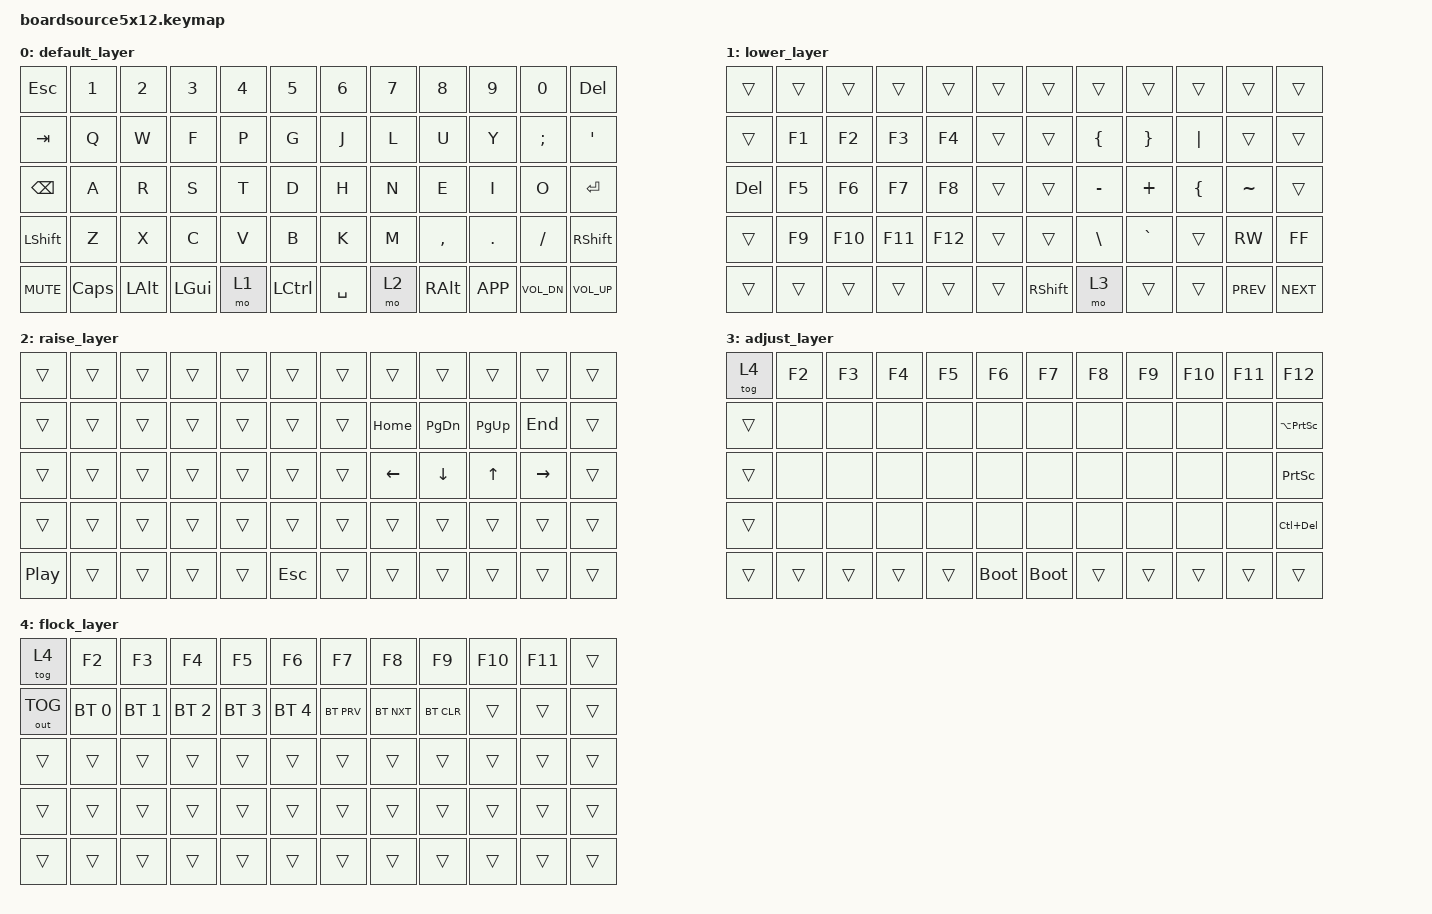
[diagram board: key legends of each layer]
/*
 * Copyright (c) 2021 The ZMK Contributors
 *
 * SPDX-License-Identifier: MIT
 */
 
#include <behaviors.dtsi>
#include <dt-bindings/zmk/keys.h>
#include <dt-bindings/zmk/bt.h>
#include <dt-bindings/zmk/outputs.h>


/ {
    keymap {
        compatible = "zmk,keymap";

        default_layer {
            // ------------------------------------------------------------------------------------------
            // |  ESC  |  1   |  2   |  3   |  4   |  5   |   6   |  7    |  8   |  9   |   0   | BSPC  |
            // |  TAB  |  Q   |  W   |  E   |  R   |  T   |   Y   |  U    |  I   |  O   |   P   |  \    |
            // | SHIFT |  A   |  S   |  D   |  F   |  G   |   H   |  J    |  K   |  L   |   ;   |  '    |
            // | CTRL  |  Z   |  X   |  C   |  V   |  B   |   N   |  M    |  ,   |  .   |   /   | ENTER |
            // |ADJUST | LCTL | LALT | LGUI | LOWR | SPACE| SPACE |  RAIS | LARW | DARW | UARW  | RARW  |


            bindings = <
                &kp ESC    &kp N1       &kp N2      &kp N3   &kp N4     &kp N5      &kp N6      &kp N7  &kp N8      &kp N9      &kp N0        &kp DEL
                &kp TAB    &kp Q        &kp W       &kp F    &kp P      &kp G       &kp J       &kp L   &kp U       &kp Y       &kp SEMI      &kp SQT
                &kp BSPC   &kp A        &kp R       &kp S    &kp T      &kp D       &kp H       &kp N   &kp E       &kp I       &kp O         &kp RET
                &kp LSHFT  &kp Z        &kp X       &kp C    &kp V      &kp B       &kp K       &kp M   &kp COMMA   &kp DOT     &kp FSLH      &kp RSHFT
                &kp C_MUTE &kp CAPS     &kp LALT    &kp LGUI &mo 1      &kp LCTRL   &kp SPACE   &mo 2   &kp RALT    &kp K_APP   &kp C_VOL_DN  &kp C_VOL_UP
            >;
        };

        lower_layer {
            // -------------------------------------------------------------------------------------------
            // |  ESC  |  F2  |  F3  |  F4  |  F5  |  F6  |   F7  |  F8   |  F9  | F10  |  F11  |  F12  |
            // |   ~   |  !   |  @   |  #   |  $   |  %   |   ^   |   &   |  *   |  (   |   )   |  DEL  |
            // |       |  F1  |  F2  |  F3  |  F4  |  F5  |   F6  |   _   |  +   |  {   |   }   |   |   |
            // |       |  F7  |  F8  |  F9  |  F10 |  F11 |   F12 | LS(#) |LS(|) |      |       |       |
            // |       |      |      |      |      |      |       |       | NEXT | Vol- | Vol+ | PLAY   |
            bindings = <
                &trans   &trans   &trans   &trans   &trans    &trans   &trans    &trans      &trans      &trans       &trans      &trans          
                &trans   &kp F1   &kp F2   &kp F3   &kp F4    &trans   &trans    &kp LBRC    &kp RBRC    &kp PIPE     &trans      &trans
                &kp DEL  &kp F5   &kp F6   &kp F7   &kp F8    &trans   &trans    &kp MINUS   &kp PLUS    &kp LBRC     &kp TILDE   &trans
                &trans   &kp F9   &kp F10  &kp F11  &kp F12   &trans   &trans    &kp BSLH    &kp GRAVE   &trans       &kp C_RW    &kp C_FF
                &trans   &trans   &trans   &trans   &trans    &trans   &kp RSHFT &mo 3       &trans      &trans       &kp C_PREV  &kp C_NEXT
            >;
        };

        raise_layer {
            // ------------------------------------------------------------------------------------------
            // |  ESC  |  F2  |  F3  |  F4  |  F5  |  F6  |  F7   |  F8   |  F9  | F10  |  F11  |  F12  |
            // |   ~   |  1   |  2   |  3   |  4   |  5   |  6    |   7   |  8   |  9   |   0   |  DEL  |
            // |  DEL  |  F1  |  F2  |  F3  |  F4  |  F5  |  F6   |   -   |  =   |  [   |   ]   |   \   |
            // |       |  F7  |  F8  |  F9  |  F10 |  F11 |  F12  |   #   |  |   |      |       |       |
            // |       |      |      |      |      |      |       |       |       |      |      |       |
            bindings = <
                &trans      &trans   &trans   &trans   &trans    &trans   &trans    &trans      &trans      &trans       &trans      &trans 
                &trans      &trans   &trans   &trans   &trans    &trans   &trans    &kp HOME    &kp PG_DN   &kp PG_UP    &kp END     &trans 
                &trans      &trans   &trans   &trans   &trans    &trans   &trans    &kp LEFT    &kp DOWN    &kp UP       &kp RIGHT   &trans 
                &trans      &trans   &trans   &trans   &trans    &trans   &trans    &trans      &trans      &trans       &trans      &trans 
                &kp C_PP    &trans   &trans   &trans   &trans    &kp ESC  &trans    &trans      &trans      &trans       &trans      &trans 
            >;
        };

        adjust_layer {
            // ------------------------------------------------------------------------------------------
            // |tog(4)|  F2  |  F3  |  F4  |  F5  |  F6  |  F7  |  F8  |  F9  |  F10 |  F11 |    F12    |
            // |      |  NA  |  NA  |  NA  |  NA  |  NA  |  NA  |  NA  |  NA  |  NA  |  NA  |LALT(PRTSN)|
            // |      |  NA  |  NA  |  NA  |  NA  |  NA  |  NA  |  NA  |  NA  |  NA  |  NA  |   PRTSN   |
            // |      |  NA  |  NA  |  NA  |  NA  |  NA  |  NA  |  NA  |  NA  |  NA  |  NA  |LCTRL(DEL) |
            // |      |      |      |      |      |BOOTLD|BOOTLD|      |      |      |      |           |
            bindings = <
                &tog 4 &kp F2 &kp F3 &kp F4 &kp F5 &kp F6 &kp F7 &kp F8 &kp F9 &kp F10 &kp F11 &kp F12
                &trans &none  &none  &none  &none  &none  &none  &none  &none  &none   &none   &kp LA(PSCRN)
                &trans &none  &none  &none  &none  &none  &none  &none  &none  &none   &none   &kp PSCRN
                &trans &none  &none  &none  &none  &none  &none  &none  &none  &none   &none   &kp LC(DEL)
                &trans &trans &trans &trans &trans &bootloader   &bootloader &trans &trans &trans &trans  &trans
            >;
        };

        flock_layer {
            // ----------------------------------------------------------------------------------------------
            // |tog(4) |  F2    |   F3   |   F4   |   F5   |   F6   |  F7  |  F8  |  F9  | F10 | F11 |      |
            // |out tog|BT_SEL 0|BT_SEL 1|BT_SEL 2|BT_SEL 3|BT_SEL 4|BT_PRV|BT_NXT|BT_CLR|     |     |      |
            // |       |        |        |        |        |        |      |      |      |     |     |      |
            // |       |        |        |        |        |        |      |      |      |     |     |      |
            // |       |        |        |        |        |        |      |      |      |     |     |      |
            bindings = <
                &tog 4       &kp F2       &kp F3       &kp F4       &kp F5       &kp F6       &kp F7     &kp F8     &kp F9     &kp F10 &kp F11 &trans
                &out OUT_TOG &bt BT_SEL 0 &bt BT_SEL 1 &bt BT_SEL 2 &bt BT_SEL 3 &bt BT_SEL 4 &bt BT_PRV &bt BT_NXT &bt BT_CLR &trans  &trans  &trans
                &trans       &trans       &trans       &trans       &trans       &trans       &trans     &trans     &trans     &trans  &trans  &trans
                &trans       &trans       &trans       &trans       &trans       &trans       &trans     &trans     &trans     &trans  &trans  &trans
                &trans       &trans       &trans       &trans       &trans       &trans       &trans     &trans     &trans     &trans  &trans  &trans
            >;
        };
    };
};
